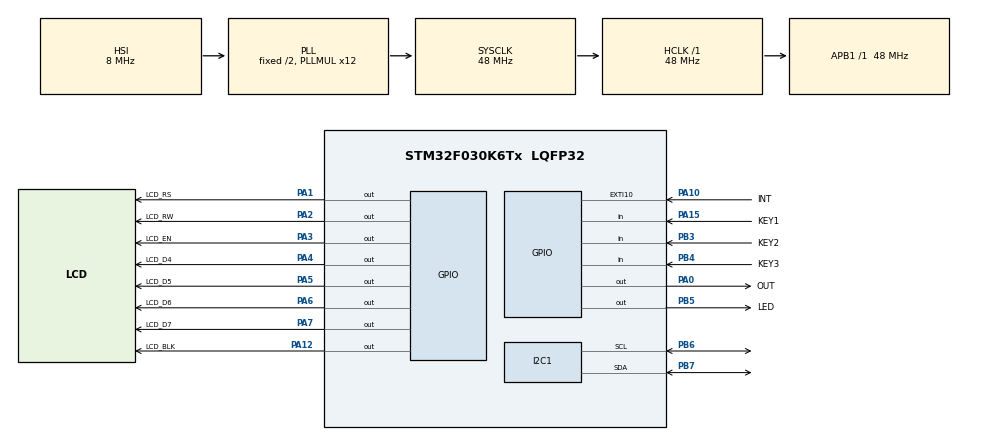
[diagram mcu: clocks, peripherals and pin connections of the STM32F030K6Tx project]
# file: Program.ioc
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Mcu.Family=STM32F0
Mcu.Name=STM32F030K6Tx
Mcu.Package=LQFP32
NVIC.EXTI4_15_IRQn=true\:1\:0\:true\:false\:true\:true\:true
NVIC.TIM16_IRQn=true\:3\:0\:true\:false\:true\:true\:true
NVIC.TIM17_IRQn=true\:3\:0\:true\:false\:true\:true\:true
PA0.GPIO_Label=OUT
PA0.Signal=GPIO_Output
PA1.GPIO_Label=LCD_RS
PA1.Signal=GPIO_Output
PA10.GPIO_Label=INT
PA10.GPIO_ModeDefaultEXTI=GPIO_MODE_IT_FALLING
PA10.GPIO_PuPd=GPIO_PULLDOWN
PA10.Signal=GPXTI10
PA12.GPIO_Label=LCD_BLK
PA12.Signal=GPIO_Output
PA13.Mode=Serial_Wire
PA13.Signal=SYS_SWDIO
PA14.Mode=Serial_Wire
PA14.Signal=SYS_SWCLK
PA15.GPIO_Label=KEY1
PA15.GPIO_PuPd=GPIO_PULLUP
PA15.Signal=GPIO_Input
PA2.GPIO_Label=LCD_RW
PA2.Signal=GPIO_Output
PA3.GPIO_Label=LCD_EN
PA3.Signal=GPIO_Output
PA4.GPIO_Label=LCD_D4
PA4.Signal=GPIO_Output
PA5.GPIO_Label=LCD_D5
PA5.Signal=GPIO_Output
PA6.GPIO_Label=LCD_D6
PA6.Signal=GPIO_Output
PA7.GPIO_Label=LCD_D7
PA7.Signal=GPIO_Output
PB3.GPIO_Label=KEY2
PB3.GPIO_PuPd=GPIO_PULLUP
PB3.Signal=GPIO_Input
PB4.GPIO_Label=KEY3
PB4.GPIO_PuPd=GPIO_PULLUP
PB4.Signal=GPIO_Input
PB5.GPIO_Label=LED
PB5.Signal=GPIO_Output
PB6.Mode=I2C
PB6.Signal=I2C1_SCL
PB7.Mode=I2C
PB7.Signal=I2C1_SDA
ProjectManager.HeapSize=0x200
ProjectManager.StackSize=0x400
ProjectManager.TargetToolchain=MDK-ARM V5
RCC.AHBFreq_Value=48000000
RCC.APB1Freq_Value=48000000
RCC.APB1TimFreq_Value=48000000
RCC.HCLKFreq_Value=48000000
RCC.PLLMUL=RCC_PLL_MUL12
RCC.SYSCLKFreq_VALUE=48000000
RCC.SYSCLKSource=RCC_SYSCLKSOURCE_PLLCLK
TIM16.AutoReloadPreload=TIM_AUTORELOAD_PRELOAD_ENABLE
TIM16.Period=20
TIM16.Prescaler=48000
TIM17.AutoReloadPreload=TIM_AUTORELOAD_PRELOAD_ENABLE
TIM17.Period=1000
TIM17.Prescaler=48000
VP_TIM16_VS_ClockSourceINT.Mode=Enable_Timer
VP_TIM17_VS_ClockSourceINT.Mode=Enable_Timer
board=custom

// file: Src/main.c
/* USER CODE BEGIN Header */
/**
  ******************************************************************************
  * @file           : main.c
  * @brief          : Main program body
  ******************************************************************************
  ** This notice applies to any and all portions of this file
  * that are not between comment pairs USER CODE BEGIN and
  * USER CODE END. Other portions of this file, whether
  * inserted by the user or by software development tools
  * are owned by their respective copyright owners.
  *
  * COPYRIGHT(c) 2019 STMicroelectronics
  *
  * Redistribution and use in source and binary forms, with or without modification,
  * are permitted provided that the following conditions are met:
  *   1. Redistributions of source code must retain the above copyright notice,
  *      this list of conditions and the following disclaimer.
  *   2. Redistributions in binary form must reproduce the above copyright notice,
  *      this list of conditions and the following disclaimer in the documentation
  *      and/or other materials provided with the distribution.
  *   3. Neither the name of STMicroelectronics nor the names of its contributors
  *      may be used to endorse or promote products derived from this software
  *      without specific prior written permission.
  *
  * THIS SOFTWARE IS PROVIDED BY THE COPYRIGHT HOLDERS AND CONTRIBUTORS "AS IS"
  * AND ANY EXPRESS OR IMPLIED WARRANTIES, INCLUDING, BUT NOT LIMITED TO, THE
  * IMPLIED WARRANTIES OF MERCHANTABILITY AND FITNESS FOR A PARTICULAR PURPOSE ARE
  * DISCLAIMED. IN NO EVENT SHALL THE COPYRIGHT HOLDER OR CONTRIBUTORS BE LIABLE
  * FOR ANY DIRECT, INDIRECT, INCIDENTAL, SPECIAL, EXEMPLARY, OR CONSEQUENTIAL
  * DAMAGES (INCLUDING, BUT NOT LIMITED TO, PROCUREMENT OF SUBSTITUTE GOODS OR
  * SERVICES; LOSS OF USE, DATA, OR PROFITS; OR BUSINESS INTERRUPTION) HOWEVER
  * CAUSED AND ON ANY THEORY OF LIABILITY, WHETHER IN CONTRACT, STRICT LIABILITY,
  * OR TORT (INCLUDING NEGLIGENCE OR OTHERWISE) ARISING IN ANY WAY OUT OF THE USE
  * OF THIS SOFTWARE, EVEN IF ADVISED OF THE POSSIBILITY OF SUCH DAMAGE.
  *
  ******************************************************************************
  */
/* USER CODE END Header */

#include "main.h"

/* USER CODE BEGIN Includes */
#include "math.h"
unsigned long lite=10000;

//#include "string.h"

 class VARABEL{
	 public:
	  char ontime_mode,OnTimePosNeg;
	  char offtime_mode,OffTimePosNeg;

	 char OnTimeHour,OnTimeMin;
	 char OffTimeHour,OffTimeMin;

	 int LiteLong;

	 float longitude;
	 float latitudes;

	 long max_lite,min_lite;
	 char max_lite_persent,min_lite_persent;

	void ee_set_Longitude(float);
	void ee_set_Latitudes(float);
	void ee_read_Longitude(void);
	void ee_read_Latitudes(void);

	 void update_eeprom(void);

	 VARABEL();

	 	typedef enum
	 {
		fix=0 ,
		sun_set,
		sun_rise
	 }TIME_MODE;

 }var;

 enum{
	 off=0,
	 on,
	 on2off,
	 off2on
 }OutState;
 #include "PrayTimes.h"
#include "HD44780.c"
#include "KEY_Read.h"

/* USER CODE END Includes */

I2C_HandleTypeDef hi2c1;

TIM_HandleTypeDef htim16;
TIM_HandleTypeDef htim17;

/* USER CODE BEGIN PV */

#include "rtc_calc.c"

I2C_HandleTypeDef read_i2c_in_main (void) {return hi2c1;}
#include "ds1331.h"
#include "EEPROM.h"

TIME_ now_time;
TIME_ on_time;
TIME_ off_time;

#include "mainhelper.h"
/* USER CODE END PV */

void SystemClock_Config(void);
static void MX_GPIO_Init(void);
static void MX_I2C1_Init(void);
static void MX_TIM16_Init(void);
static void MX_TIM17_Init(void);

/* USER CODE BEGIN 0 */

bool oneSecond;
/* USER CODE END 0 */

int main(void)
{
  /* USER CODE BEGIN 1 */

//	DATE_CALC cal;

  /* USER CODE END 1 */

  /* MCU Configuration--------------------------------------------------------*/

  /* Reset of all peripherals, Initializes the Flash interface and the Systick. */
  HAL_Init();

  /* Configure the system clock */
  SystemClock_Config();

  /* Initialize all configured peripherals */
  MX_GPIO_Init();
  MX_I2C1_Init();
  MX_TIM16_Init();
  MX_TIM17_Init();
  /* USER CODE BEGIN 2 */
  HAL_TIM_Base_Start_IT(&htim16);
  HAL_TIM_Base_Start_IT(&htim17);
  /* USER CODE END 2 */

  /* Infinite loop */
  /* USER CODE BEGIN WHILE */
//
	HAL_GPIO_WritePin(LCD_BLK_GPIO_Port,LCD_BLK_Pin,GPIO_PIN_SET);
  lcd.Init();

	//delay(100);
  lcd.show("LCD ok",0,1);
  delay(1000);
  lcd.Clear();

	HAL_NVIC_EnableIRQ(EXTI4_15_IRQn);

//  char x=6;
// ee.write_char(x,ee._on_tim_hor);

 ee_read_varabel();
 //if((char)var.longitude > 180) var.longitude=28.123456;
 //if((char)var.latitudes > 90) var.latitudes=57.123456;

 //if(read_key1 == 0  && read_key3 == 0) mh.hide_menu();
	// mh.hide_menu();

 char buf[25];
//double ffddf=sin(180.1);

  while (1)
  {
		if(oneSecond)
		{
		  oneSecond=0;
			//rtc.get_time();

		  HAL_GPIO_TogglePin(LED_GPIO_Port,LED_Pin);

			cal.milady_to_shamsy(rtc.year,rtc.mont,rtc.day_of_mont);
			sprintf(buf,"%u/%u/%u %u%c%u ",
				(cal.sh.year < 1400)?  (cal.sh.year-1300):(cal.sh.year-1400)     ,
			                                                   cal.sh.month,
			                                                   cal.sh.day_of_mont ,
			                                                   rtc.hour,
			                                                   (rtc.sec%2)? ':':'*',
			                                                   rtc.min);

             lcd.show(buf,0,0);
//			cal.cal_sunset_sunrise(57.753336,28.691217);
			pt.getDatePrayerTimes(rtc.year+2000,rtc.mont,rtc.day_of_mont,28.68,57.75,3.5);

			if(key.newkey == 1)
			{
				char press = key.check_key();
				if( press == key.set)
				{
					mh.menu(0);

				}
			}

//			mh.cal_on_off_time();  // macke on and off time
//			lite=mh.lite_calc();  // lite calclude  return 10.000 to 90.000

			long lite_=100-((lite-10000)/(80000/100));

			sprintf(buf,"%u:%u %u:%u %u " ,on_time.hour,on_time.min,off_time.hour,off_time.min,  lite_);
			lcd.show(buf,1,0);

//			sprintf(buf,"%u ",lite );
//      lcd.show(buf,1,0);
//

			//
			//sprintf(buf,"OUT = %u",nnn);
      //lcd.show(buf,1,0);

			//bool ontime_fix1_shift0,OnTimePosNeg;

		}

    /* USER CODE END WHILE */

  }
}

void SystemClock_Config(void)
{
  RCC_OscInitTypeDef RCC_OscInitStruct = {0};
  RCC_ClkInitTypeDef RCC_ClkInitStruct = {0};
  RCC_PeriphCLKInitTypeDef PeriphClkInit = {0};

  /** Initializes the CPU, AHB and APB busses clocks
  */
  RCC_OscInitStruct.OscillatorType = RCC_OSCILLATORTYPE_HSI;
  RCC_OscInitStruct.HSIState = RCC_HSI_ON;
  RCC_OscInitStruct.HSICalibrationValue = RCC_HSICALIBRATION_DEFAULT;
  RCC_OscInitStruct.PLL.PLLState = RCC_PLL_ON;
  RCC_OscInitStruct.PLL.PLLSource = RCC_PLLSOURCE_HSI;
  RCC_OscInitStruct.PLL.PLLMUL = RCC_PLL_MUL12;
  RCC_OscInitStruct.PLL.PREDIV = RCC_PREDIV_DIV1;
  if (HAL_RCC_OscConfig(&RCC_OscInitStruct) != HAL_OK)
  {
    Error_Handler();
  }
  /** Initializes the CPU, AHB and APB busses clocks
  */
  RCC_ClkInitStruct.ClockType = RCC_CLOCKTYPE_HCLK|RCC_CLOCKTYPE_SYSCLK
                              |RCC_CLOCKTYPE_PCLK1;
  RCC_ClkInitStruct.SYSCLKSource = RCC_SYSCLKSOURCE_PLLCLK;
  RCC_ClkInitStruct.AHBCLKDivider = RCC_SYSCLK_DIV1;
  RCC_ClkInitStruct.APB1CLKDivider = RCC_HCLK_DIV1;

  if (HAL_RCC_ClockConfig(&RCC_ClkInitStruct, FLASH_LATENCY_1) != HAL_OK)
  {
    Error_Handler();
  }
  PeriphClkInit.PeriphClockSelection = RCC_PERIPHCLK_I2C1;
  PeriphClkInit.I2c1ClockSelection = RCC_I2C1CLKSOURCE_HSI;
  if (HAL_RCCEx_PeriphCLKConfig(&PeriphClkInit) != HAL_OK)
  {
    Error_Handler();
  }
}

static void MX_I2C1_Init(void)
{

  hi2c1.Instance = I2C1;
  hi2c1.Init.Timing = 0x2000090E;
  hi2c1.Init.OwnAddress1 = 0;
  hi2c1.Init.AddressingMode = I2C_ADDRESSINGMODE_7BIT;
  hi2c1.Init.DualAddressMode = I2C_DUALADDRESS_DISABLE;
  hi2c1.Init.OwnAddress2 = 0;
  hi2c1.Init.OwnAddress2Masks = I2C_OA2_NOMASK;
  hi2c1.Init.GeneralCallMode = I2C_GENERALCALL_DISABLE;
  hi2c1.Init.NoStretchMode = I2C_NOSTRETCH_DISABLE;
  if (HAL_I2C_Init(&hi2c1) != HAL_OK)
  {
    Error_Handler();
  }
  /** Configure Analogue filter
  */
  if (HAL_I2CEx_ConfigAnalogFilter(&hi2c1, I2C_ANALOGFILTER_ENABLE) != HAL_OK)
  {
    Error_Handler();
  }
  /** Configure Digital filter
  */
  if (HAL_I2CEx_ConfigDigitalFilter(&hi2c1, 0) != HAL_OK)
  {
    Error_Handler();
  }

}

static void MX_TIM16_Init(void)
{

  htim16.Instance = TIM16;
  htim16.Init.Prescaler = 48000;
  htim16.Init.CounterMode = TIM_COUNTERMODE_UP;
  htim16.Init.Period = 20;
  htim16.Init.ClockDivision = TIM_CLOCKDIVISION_DIV1;
  htim16.Init.RepetitionCounter = 0;
  htim16.Init.AutoReloadPreload = TIM_AUTORELOAD_PRELOAD_ENABLE;
  if (HAL_TIM_Base_Init(&htim16) != HAL_OK)
  {
    Error_Handler();
  }

}

static void MX_TIM17_Init(void)
{

  htim17.Instance = TIM17;
  htim17.Init.Prescaler = 48000;
  htim17.Init.CounterMode = TIM_COUNTERMODE_UP;
  htim17.Init.Period = 1000;
  htim17.Init.ClockDivision = TIM_CLOCKDIVISION_DIV1;
  htim17.Init.RepetitionCounter = 0;
  htim17.Init.AutoReloadPreload = TIM_AUTORELOAD_PRELOAD_ENABLE;
  if (HAL_TIM_Base_Init(&htim17) != HAL_OK)
  {
    Error_Handler();
  }

}

static void MX_GPIO_Init(void)
{
  GPIO_InitTypeDef GPIO_InitStruct = {0};

  /* GPIO Ports Clock Enable */
  __HAL_RCC_GPIOA_CLK_ENABLE();
  __HAL_RCC_GPIOB_CLK_ENABLE();

  /*Configure GPIO pin Output Level */
  HAL_GPIO_WritePin(GPIOA, OUT_Pin|LCD_RS_Pin|LCD_RW_Pin|LCD_EN_Pin
                          |LCD_D4_Pin|LCD_D5_Pin|LCD_D6_Pin|LCD_D7_Pin
                          |LCD_BLK_Pin, GPIO_PIN_RESET);

  /*Configure GPIO pin Output Level */
  HAL_GPIO_WritePin(LED_GPIO_Port, LED_Pin, GPIO_PIN_RESET);

  /*Configure GPIO pins : OUT_Pin LCD_RS_Pin LCD_RW_Pin LCD_EN_Pin
                           LCD_D4_Pin LCD_D5_Pin LCD_D6_Pin LCD_D7_Pin
                           LCD_BLK_Pin */
  GPIO_InitStruct.Pin = OUT_Pin|LCD_RS_Pin|LCD_RW_Pin|LCD_EN_Pin
                          |LCD_D4_Pin|LCD_D5_Pin|LCD_D6_Pin|LCD_D7_Pin
                          |LCD_BLK_Pin;
  GPIO_InitStruct.Mode = GPIO_MODE_OUTPUT_PP;
  GPIO_InitStruct.Pull = GPIO_NOPULL;
  GPIO_InitStruct.Speed = GPIO_SPEED_FREQ_LOW;
  HAL_GPIO_Init(GPIOA, &GPIO_InitStruct);

  /*Configure GPIO pin : INT_Pin */
  GPIO_InitStruct.Pin = INT_Pin;
  GPIO_InitStruct.Mode = GPIO_MODE_IT_FALLING;
  GPIO_InitStruct.Pull = GPIO_PULLDOWN;
  HAL_GPIO_Init(INT_GPIO_Port, &GPIO_InitStruct);

  /*Configure GPIO pin : KEY1_Pin */
  GPIO_InitStruct.Pin = KEY1_Pin;
  GPIO_InitStruct.Mode = GPIO_MODE_INPUT;
  GPIO_InitStruct.Pull = GPIO_PULLUP;
  HAL_GPIO_Init(KEY1_GPIO_Port, &GPIO_InitStruct);

  /*Configure GPIO pins : KEY2_Pin KEY3_Pin */
  GPIO_InitStruct.Pin = KEY2_Pin|KEY3_Pin;
  GPIO_InitStruct.Mode = GPIO_MODE_INPUT;
  GPIO_InitStruct.Pull = GPIO_PULLUP;
  HAL_GPIO_Init(GPIOB, &GPIO_InitStruct);

  /*Configure GPIO pin : LED_Pin */
  GPIO_InitStruct.Pin = LED_Pin;
  GPIO_InitStruct.Mode = GPIO_MODE_OUTPUT_PP;
  GPIO_InitStruct.Pull = GPIO_NOPULL;
  GPIO_InitStruct.Speed = GPIO_SPEED_FREQ_LOW;
  HAL_GPIO_Init(LED_GPIO_Port, &GPIO_InitStruct);

  /* EXTI interrupt init*/
  HAL_NVIC_SetPriority(EXTI4_15_IRQn, 1, 0);
  HAL_NVIC_EnableIRQ(EXTI4_15_IRQn);

}

/* USER CODE BEGIN 4 */
void HAL_TIM_PeriodElapsedCallback(TIM_HandleTypeDef *htim)
{

 if( htim->Instance == TIM17)  // 1000 ms
 {
	  oneSecond=1;
	 rtc.get_time();
	 mh.cal_on_off_time();  // macke on and off time
	 lite=mh.lite_calc();  // lite calclude  return 10.000 to 90.000

 }
	 if( htim->Instance == TIM16)  // 20 ms
 {
	   key.read();

 }

};

/* USER CODE END 4 */

void Error_Handler(void)
{
}

/************************ (C) COPYRIGHT STMicroelectronics *****END OF FILE****/
